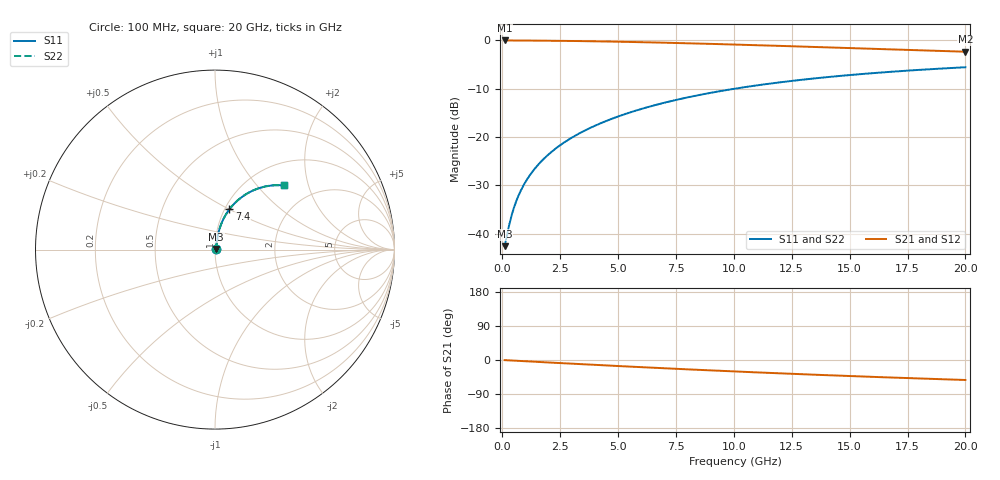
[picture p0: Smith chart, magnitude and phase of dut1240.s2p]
! Touchstone file exported from HFSS 2024.1.0
!  File:  C:/UserFiles/LocalFiles/RDL_TSV_Batchsim/temp_RDL_bottom_1240_1780244928.aedt
!  Generated:  12:31:16 AM Jun  1, 2026
!  Design:  RDL_bottom
!  Project:  temp_RDL_bottom_1240_1780244928
!  Setup:  Setup1
!  Solution:  Sweep
! Variables:
!  dtsv = 10.80580581um
!  hbump = 3um
!  htsv = 83.55um
!  ldown = 681.39um
!  lrdl = 100um
!  p = 40
!  p1 = 58.78um
!  rhole = 1um
!  t = 450um
!  tdown = 2.2um
!  trdl = 3.915915916um
!  wdown = 17.13um
!  wrdl = 20um
# GHz S MA R 50.000000
! Terminal data exported
! Port[1] = RDL1_T1
! Port[2] = RDL1_T2
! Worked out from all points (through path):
!   200 points, 100 MHz to 20 GHz, reference 50 ohm
!   highest |S21| = -0.06 dB at 100 MHz (marker M1); lowest = -2.4 dB at 20 GHz (marker M2)
!   group delay of S21, straight-line fit = 7.32 ps
!   lowest |S11| = -42.6 dB at 100 MHz (marker M3), VSWR 1.01, Z = 50.7 + j0.349 ohm
!   |S11| at or under -10 dB: start of sweep to 10.08 GHz
!   |S22| runs from -42.6 to -5.6 dB; largest |S21 - S12| = 1.5e-14
!   S11 on the Smith chart (normalised r, x): 100 MHz: 1.01, +0.01; 7.4 GHz: 1.05, +0.50; 20 GHz: 1.43, +1.41
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0.1  0.007423 27.7  0.9934 -0.3  0.9934 -0.3  0.007423 27.7
! Gamma 0 0 0 0
! Port Impedance 50 0 50 0
0.3  0.01236 56.1  0.9931 -1.0  0.9931 -1.0  0.01236 56.1
0.4  0.01536 62.4  0.9929 -1.3  0.9929 -1.3  0.01536 62.4
0.5  0.01846 66.4  0.9926 -1.7  0.9926 -1.7  0.01846 66.4
0.6  0.02159 69.1  0.9923 -2.0  0.9923 -2.0  0.02159 69.1
0.7  0.02473 71.2  0.9921 -2.3  0.9921 -2.3  0.02473 71.2
0.9  0.03104 73.9  0.9914 -3.0  0.9914 -3.0  0.03104 73.9
1.2  0.04053 76.2  0.9905 -4.0  0.9905 -4.0  0.04053 76.2
1.4  0.04687 77.1  0.9897 -4.6  0.9897 -4.6  0.04687 77.1
1.7  0.05643 78.0  0.9885 -5.6  0.9885 -5.6  0.05643 78.0
2.2  0.07243 78.6  0.9862 -7.2  0.9862 -7.2  0.07244 78.6
2.8  0.09174 78.5  0.9827 -9.1  0.9827 -9.1  0.09174 78.5
3.5  0.1143 77.9  0.9778 -11.3  0.9778 -11.3  0.1143 77.9
4.2  0.1369 76.9  0.972 -13.5  0.972 -13.5  0.1369 76.9
5  0.1626 75.5  0.9644 -15.9  0.9644 -15.9  0.1626 75.5
6.8  0.2195 71.7  0.9444 -21.3  0.9444 -21.3  0.2195 71.7
7.4  0.238 70.3  0.937 -23.0  0.937 -23.0  0.238 70.4
8.7  0.2769 67.3  0.9199 -26.6  0.9199 -26.6  0.277 67.3
10.1  0.3168 64.0  0.9004 -30.4  0.9004 -30.4  0.3169 64.0
13.4  0.4007 56.4  0.8523 -38.6  0.8523 -38.6  0.4008 56.4
16.7  0.4698 49.3  0.8046 -46.0  0.8046 -46.0  0.4699 49.3
20  0.5249 42.9  0.7599 -52.7  0.7599 -52.7  0.5251 42.9
